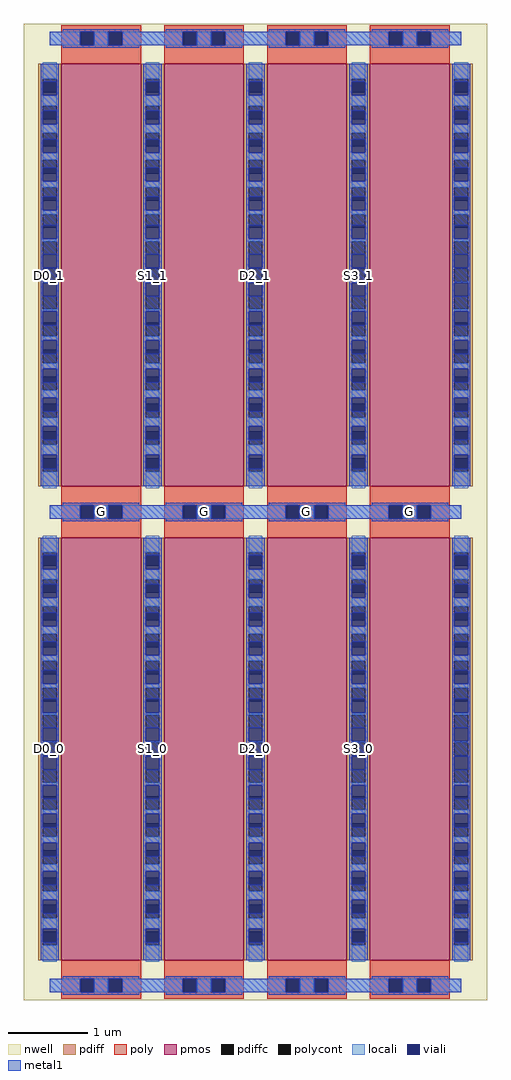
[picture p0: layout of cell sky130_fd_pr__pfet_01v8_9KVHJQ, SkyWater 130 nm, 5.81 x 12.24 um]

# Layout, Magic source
magic
tech sky130A
magscale 1 2
<< nwell >>
rect -581 -1224 581 1224
<< pmos >>
rect -487 64 -287 1124
rect -229 64 -29 1124
rect 29 64 229 1124
rect 287 64 487 1124
rect -487 -1124 -287 -64
rect -229 -1124 -29 -64
rect 29 -1124 229 -64
rect 287 -1124 487 -64
<< pdiff >>
rect -545 1087 -487 1124
rect -545 1053 -533 1087
rect -499 1053 -487 1087
rect -545 1019 -487 1053
rect -545 985 -533 1019
rect -499 985 -487 1019
rect -545 951 -487 985
rect -545 917 -533 951
rect -499 917 -487 951
rect -545 883 -487 917
rect -545 849 -533 883
rect -499 849 -487 883
rect -545 815 -487 849
rect -545 781 -533 815
rect -499 781 -487 815
rect -545 747 -487 781
rect -545 713 -533 747
rect -499 713 -487 747
rect -545 679 -487 713
rect -545 645 -533 679
rect -499 645 -487 679
rect -545 611 -487 645
rect -545 577 -533 611
rect -499 577 -487 611
rect -545 543 -487 577
rect -545 509 -533 543
rect -499 509 -487 543
rect -545 475 -487 509
rect -545 441 -533 475
rect -499 441 -487 475
rect -545 407 -487 441
rect -545 373 -533 407
rect -499 373 -487 407
rect -545 339 -487 373
rect -545 305 -533 339
rect -499 305 -487 339
rect -545 271 -487 305
rect -545 237 -533 271
rect -499 237 -487 271
rect -545 203 -487 237
rect -545 169 -533 203
rect -499 169 -487 203
rect -545 135 -487 169
rect -545 101 -533 135
rect -499 101 -487 135
rect -545 64 -487 101
rect -287 1087 -229 1124
rect -287 1053 -275 1087
rect -241 1053 -229 1087
rect -287 1019 -229 1053
rect -287 985 -275 1019
rect -241 985 -229 1019
rect -287 951 -229 985
rect -287 917 -275 951
rect -241 917 -229 951
rect -287 883 -229 917
rect -287 849 -275 883
rect -241 849 -229 883
rect -287 815 -229 849
rect -287 781 -275 815
rect -241 781 -229 815
rect -287 747 -229 781
rect -287 713 -275 747
rect -241 713 -229 747
rect -287 679 -229 713
rect -287 645 -275 679
rect -241 645 -229 679
rect -287 611 -229 645
rect -287 577 -275 611
rect -241 577 -229 611
rect -287 543 -229 577
rect -287 509 -275 543
rect -241 509 -229 543
rect -287 475 -229 509
rect -287 441 -275 475
rect -241 441 -229 475
rect -287 407 -229 441
rect -287 373 -275 407
rect -241 373 -229 407
rect -287 339 -229 373
rect -287 305 -275 339
rect -241 305 -229 339
rect -287 271 -229 305
rect -287 237 -275 271
rect -241 237 -229 271
rect -287 203 -229 237
rect -287 169 -275 203
rect -241 169 -229 203
rect -287 135 -229 169
rect -287 101 -275 135
rect -241 101 -229 135
rect -287 64 -229 101
rect -29 1087 29 1124
rect -29 1053 -17 1087
rect 17 1053 29 1087
rect -29 1019 29 1053
rect -29 985 -17 1019
rect 17 985 29 1019
rect -29 951 29 985
rect -29 917 -17 951
rect 17 917 29 951
rect -29 883 29 917
rect -29 849 -17 883
rect 17 849 29 883
rect -29 815 29 849
rect -29 781 -17 815
rect 17 781 29 815
rect -29 747 29 781
rect -29 713 -17 747
rect 17 713 29 747
rect -29 679 29 713
rect -29 645 -17 679
rect 17 645 29 679
rect -29 611 29 645
rect -29 577 -17 611
rect 17 577 29 611
rect -29 543 29 577
rect -29 509 -17 543
rect 17 509 29 543
rect -29 475 29 509
rect -29 441 -17 475
rect 17 441 29 475
rect -29 407 29 441
rect -29 373 -17 407
rect 17 373 29 407
rect -29 339 29 373
rect -29 305 -17 339
rect 17 305 29 339
rect -29 271 29 305
rect -29 237 -17 271
rect 17 237 29 271
rect -29 203 29 237
rect -29 169 -17 203
rect 17 169 29 203
rect -29 135 29 169
rect -29 101 -17 135
rect 17 101 29 135
rect -29 64 29 101
rect 229 1087 287 1124
rect 229 1053 241 1087
rect 275 1053 287 1087
rect 229 1019 287 1053
rect 229 985 241 1019
rect 275 985 287 1019
rect 229 951 287 985
rect 229 917 241 951
rect 275 917 287 951
rect 229 883 287 917
rect 229 849 241 883
rect 275 849 287 883
rect 229 815 287 849
rect 229 781 241 815
rect 275 781 287 815
rect 229 747 287 781
rect 229 713 241 747
rect 275 713 287 747
rect 229 679 287 713
rect 229 645 241 679
rect 275 645 287 679
rect 229 611 287 645
rect 229 577 241 611
rect 275 577 287 611
rect 229 543 287 577
rect 229 509 241 543
rect 275 509 287 543
rect 229 475 287 509
rect 229 441 241 475
rect 275 441 287 475
rect 229 407 287 441
rect 229 373 241 407
rect 275 373 287 407
rect 229 339 287 373
rect 229 305 241 339
rect 275 305 287 339
rect 229 271 287 305
rect 229 237 241 271
rect 275 237 287 271
rect 229 203 287 237
rect 229 169 241 203
rect 275 169 287 203
rect 229 135 287 169
rect 229 101 241 135
rect 275 101 287 135
rect 229 64 287 101
rect 487 1087 545 1124
rect 487 1053 499 1087
rect 533 1053 545 1087
rect 487 1019 545 1053
rect 487 985 499 1019
rect 533 985 545 1019
rect 487 951 545 985
rect 487 917 499 951
rect 533 917 545 951
rect 487 883 545 917
rect 487 849 499 883
rect 533 849 545 883
rect 487 815 545 849
rect 487 781 499 815
rect 533 781 545 815
rect 487 747 545 781
rect 487 713 499 747
rect 533 713 545 747
rect 487 679 545 713
rect 487 645 499 679
rect 533 645 545 679
rect 487 611 545 645
rect 487 577 499 611
rect 533 577 545 611
rect 487 543 545 577
rect 487 509 499 543
rect 533 509 545 543
rect 487 475 545 509
rect 487 441 499 475
rect 533 441 545 475
rect 487 407 545 441
rect 487 373 499 407
rect 533 373 545 407
rect 487 339 545 373
rect 487 305 499 339
rect 533 305 545 339
rect 487 271 545 305
rect 487 237 499 271
rect 533 237 545 271
rect 487 203 545 237
rect 487 169 499 203
rect 533 169 545 203
rect 487 135 545 169
rect 487 101 499 135
rect 533 101 545 135
rect 487 64 545 101
rect -545 -101 -487 -64
rect -545 -135 -533 -101
rect -499 -135 -487 -101
rect -545 -169 -487 -135
rect -545 -203 -533 -169
rect -499 -203 -487 -169
rect -545 -237 -487 -203
rect -545 -271 -533 -237
rect -499 -271 -487 -237
rect -545 -305 -487 -271
rect -545 -339 -533 -305
rect -499 -339 -487 -305
rect -545 -373 -487 -339
rect -545 -407 -533 -373
rect -499 -407 -487 -373
rect -545 -441 -487 -407
rect -545 -475 -533 -441
rect -499 -475 -487 -441
rect -545 -509 -487 -475
rect -545 -543 -533 -509
rect -499 -543 -487 -509
rect -545 -577 -487 -543
rect -545 -611 -533 -577
rect -499 -611 -487 -577
rect -545 -645 -487 -611
rect -545 -679 -533 -645
rect -499 -679 -487 -645
rect -545 -713 -487 -679
rect -545 -747 -533 -713
rect -499 -747 -487 -713
rect -545 -781 -487 -747
rect -545 -815 -533 -781
rect -499 -815 -487 -781
rect -545 -849 -487 -815
rect -545 -883 -533 -849
rect -499 -883 -487 -849
rect -545 -917 -487 -883
rect -545 -951 -533 -917
rect -499 -951 -487 -917
rect -545 -985 -487 -951
rect -545 -1019 -533 -985
rect -499 -1019 -487 -985
rect -545 -1053 -487 -1019
rect -545 -1087 -533 -1053
rect -499 -1087 -487 -1053
rect -545 -1124 -487 -1087
rect -287 -101 -229 -64
rect -287 -135 -275 -101
rect -241 -135 -229 -101
rect -287 -169 -229 -135
rect -287 -203 -275 -169
rect -241 -203 -229 -169
rect -287 -237 -229 -203
rect -287 -271 -275 -237
rect -241 -271 -229 -237
rect -287 -305 -229 -271
rect -287 -339 -275 -305
rect -241 -339 -229 -305
rect -287 -373 -229 -339
rect -287 -407 -275 -373
rect -241 -407 -229 -373
rect -287 -441 -229 -407
rect -287 -475 -275 -441
rect -241 -475 -229 -441
rect -287 -509 -229 -475
rect -287 -543 -275 -509
rect -241 -543 -229 -509
rect -287 -577 -229 -543
rect -287 -611 -275 -577
rect -241 -611 -229 -577
rect -287 -645 -229 -611
rect -287 -679 -275 -645
rect -241 -679 -229 -645
rect -287 -713 -229 -679
rect -287 -747 -275 -713
rect -241 -747 -229 -713
rect -287 -781 -229 -747
rect -287 -815 -275 -781
rect -241 -815 -229 -781
rect -287 -849 -229 -815
rect -287 -883 -275 -849
rect -241 -883 -229 -849
rect -287 -917 -229 -883
rect -287 -951 -275 -917
rect -241 -951 -229 -917
rect -287 -985 -229 -951
rect -287 -1019 -275 -985
rect -241 -1019 -229 -985
rect -287 -1053 -229 -1019
rect -287 -1087 -275 -1053
rect -241 -1087 -229 -1053
rect -287 -1124 -229 -1087
rect -29 -101 29 -64
rect -29 -135 -17 -101
rect 17 -135 29 -101
rect -29 -169 29 -135
rect -29 -203 -17 -169
rect 17 -203 29 -169
rect -29 -237 29 -203
rect -29 -271 -17 -237
rect 17 -271 29 -237
rect -29 -305 29 -271
rect -29 -339 -17 -305
rect 17 -339 29 -305
rect -29 -373 29 -339
rect -29 -407 -17 -373
rect 17 -407 29 -373
rect -29 -441 29 -407
rect -29 -475 -17 -441
rect 17 -475 29 -441
rect -29 -509 29 -475
rect -29 -543 -17 -509
rect 17 -543 29 -509
rect -29 -577 29 -543
rect -29 -611 -17 -577
rect 17 -611 29 -577
rect -29 -645 29 -611
rect -29 -679 -17 -645
rect 17 -679 29 -645
rect -29 -713 29 -679
rect -29 -747 -17 -713
rect 17 -747 29 -713
rect -29 -781 29 -747
rect -29 -815 -17 -781
rect 17 -815 29 -781
rect -29 -849 29 -815
rect -29 -883 -17 -849
rect 17 -883 29 -849
rect -29 -917 29 -883
rect -29 -951 -17 -917
rect 17 -951 29 -917
rect -29 -985 29 -951
rect -29 -1019 -17 -985
rect 17 -1019 29 -985
rect -29 -1053 29 -1019
rect -29 -1087 -17 -1053
rect 17 -1087 29 -1053
rect -29 -1124 29 -1087
rect 229 -101 287 -64
rect 229 -135 241 -101
rect 275 -135 287 -101
rect 229 -169 287 -135
rect 229 -203 241 -169
rect 275 -203 287 -169
rect 229 -237 287 -203
rect 229 -271 241 -237
rect 275 -271 287 -237
rect 229 -305 287 -271
rect 229 -339 241 -305
rect 275 -339 287 -305
rect 229 -373 287 -339
rect 229 -407 241 -373
rect 275 -407 287 -373
rect 229 -441 287 -407
rect 229 -475 241 -441
rect 275 -475 287 -441
rect 229 -509 287 -475
rect 229 -543 241 -509
rect 275 -543 287 -509
rect 229 -577 287 -543
rect 229 -611 241 -577
rect 275 -611 287 -577
rect 229 -645 287 -611
rect 229 -679 241 -645
rect 275 -679 287 -645
rect 229 -713 287 -679
rect 229 -747 241 -713
rect 275 -747 287 -713
rect 229 -781 287 -747
rect 229 -815 241 -781
rect 275 -815 287 -781
rect 229 -849 287 -815
rect 229 -883 241 -849
rect 275 -883 287 -849
rect 229 -917 287 -883
rect 229 -951 241 -917
rect 275 -951 287 -917
rect 229 -985 287 -951
rect 229 -1019 241 -985
rect 275 -1019 287 -985
rect 229 -1053 287 -1019
rect 229 -1087 241 -1053
rect 275 -1087 287 -1053
rect 229 -1124 287 -1087
rect 487 -101 545 -64
rect 487 -135 499 -101
rect 533 -135 545 -101
rect 487 -169 545 -135
rect 487 -203 499 -169
rect 533 -203 545 -169
rect 487 -237 545 -203
rect 487 -271 499 -237
rect 533 -271 545 -237
rect 487 -305 545 -271
rect 487 -339 499 -305
rect 533 -339 545 -305
rect 487 -373 545 -339
rect 487 -407 499 -373
rect 533 -407 545 -373
rect 487 -441 545 -407
rect 487 -475 499 -441
rect 533 -475 545 -441
rect 487 -509 545 -475
rect 487 -543 499 -509
rect 533 -543 545 -509
rect 487 -577 545 -543
rect 487 -611 499 -577
rect 533 -611 545 -577
rect 487 -645 545 -611
rect 487 -679 499 -645
rect 533 -679 545 -645
rect 487 -713 545 -679
rect 487 -747 499 -713
rect 533 -747 545 -713
rect 487 -781 545 -747
rect 487 -815 499 -781
rect 533 -815 545 -781
rect 487 -849 545 -815
rect 487 -883 499 -849
rect 533 -883 545 -849
rect 487 -917 545 -883
rect 487 -951 499 -917
rect 533 -951 545 -917
rect 487 -985 545 -951
rect 487 -1019 499 -985
rect 533 -1019 545 -985
rect 487 -1053 545 -1019
rect 487 -1087 499 -1053
rect 533 -1087 545 -1053
rect 487 -1124 545 -1087
<< pdiffc >>
rect -533 1053 -499 1087
rect -533 985 -499 1019
rect -533 917 -499 951
rect -533 849 -499 883
rect -533 781 -499 815
rect -533 713 -499 747
rect -533 645 -499 679
rect -533 577 -499 611
rect -533 509 -499 543
rect -533 441 -499 475
rect -533 373 -499 407
rect -533 305 -499 339
rect -533 237 -499 271
rect -533 169 -499 203
rect -533 101 -499 135
rect -275 1053 -241 1087
rect -275 985 -241 1019
rect -275 917 -241 951
rect -275 849 -241 883
rect -275 781 -241 815
rect -275 713 -241 747
rect -275 645 -241 679
rect -275 577 -241 611
rect -275 509 -241 543
rect -275 441 -241 475
rect -275 373 -241 407
rect -275 305 -241 339
rect -275 237 -241 271
rect -275 169 -241 203
rect -275 101 -241 135
rect -17 1053 17 1087
rect -17 985 17 1019
rect -17 917 17 951
rect -17 849 17 883
rect -17 781 17 815
rect -17 713 17 747
rect -17 645 17 679
rect -17 577 17 611
rect -17 509 17 543
rect -17 441 17 475
rect -17 373 17 407
rect -17 305 17 339
rect -17 237 17 271
rect -17 169 17 203
rect -17 101 17 135
rect 241 1053 275 1087
rect 241 985 275 1019
rect 241 917 275 951
rect 241 849 275 883
rect 241 781 275 815
rect 241 713 275 747
rect 241 645 275 679
rect 241 577 275 611
rect 241 509 275 543
rect 241 441 275 475
rect 241 373 275 407
rect 241 305 275 339
rect 241 237 275 271
rect 241 169 275 203
rect 241 101 275 135
rect 499 1053 533 1087
rect 499 985 533 1019
rect 499 917 533 951
rect 499 849 533 883
rect 499 781 533 815
rect 499 713 533 747
rect 499 645 533 679
rect 499 577 533 611
rect 499 509 533 543
rect 499 441 533 475
rect 499 373 533 407
rect 499 305 533 339
rect 499 237 533 271
rect 499 169 533 203
rect 499 101 533 135
rect -533 -135 -499 -101
rect -533 -203 -499 -169
rect -533 -271 -499 -237
rect -533 -339 -499 -305
rect -533 -407 -499 -373
rect -533 -475 -499 -441
rect -533 -543 -499 -509
rect -533 -611 -499 -577
rect -533 -679 -499 -645
rect -533 -747 -499 -713
rect -533 -815 -499 -781
rect -533 -883 -499 -849
rect -533 -951 -499 -917
rect -533 -1019 -499 -985
rect -533 -1087 -499 -1053
rect -275 -135 -241 -101
rect -275 -203 -241 -169
rect -275 -271 -241 -237
rect -275 -339 -241 -305
rect -275 -407 -241 -373
rect -275 -475 -241 -441
rect -275 -543 -241 -509
rect -275 -611 -241 -577
rect -275 -679 -241 -645
rect -275 -747 -241 -713
rect -275 -815 -241 -781
rect -275 -883 -241 -849
rect -275 -951 -241 -917
rect -275 -1019 -241 -985
rect -275 -1087 -241 -1053
rect -17 -135 17 -101
rect -17 -203 17 -169
rect -17 -271 17 -237
rect -17 -339 17 -305
rect -17 -407 17 -373
rect -17 -475 17 -441
rect -17 -543 17 -509
rect -17 -611 17 -577
rect -17 -679 17 -645
rect -17 -747 17 -713
rect -17 -815 17 -781
rect -17 -883 17 -849
rect -17 -951 17 -917
rect -17 -1019 17 -985
rect -17 -1087 17 -1053
rect 241 -135 275 -101
rect 241 -203 275 -169
rect 241 -271 275 -237
rect 241 -339 275 -305
rect 241 -407 275 -373
rect 241 -475 275 -441
rect 241 -543 275 -509
rect 241 -611 275 -577
rect 241 -679 275 -645
rect 241 -747 275 -713
rect 241 -815 275 -781
rect 241 -883 275 -849
rect 241 -951 275 -917
rect 241 -1019 275 -985
rect 241 -1087 275 -1053
rect 499 -135 533 -101
rect 499 -203 533 -169
rect 499 -271 533 -237
rect 499 -339 533 -305
rect 499 -407 533 -373
rect 499 -475 533 -441
rect 499 -543 533 -509
rect 499 -611 533 -577
rect 499 -679 533 -645
rect 499 -747 533 -713
rect 499 -815 533 -781
rect 499 -883 533 -849
rect 499 -951 533 -917
rect 499 -1019 533 -985
rect 499 -1087 533 -1053
<< poly >>
rect -487 1205 -287 1221
rect -487 1171 -438 1205
rect -404 1171 -370 1205
rect -336 1171 -287 1205
rect -487 1124 -287 1171
rect -229 1205 -29 1221
rect -229 1171 -180 1205
rect -146 1171 -112 1205
rect -78 1171 -29 1205
rect -229 1124 -29 1171
rect 29 1205 229 1221
rect 29 1171 78 1205
rect 112 1171 146 1205
rect 180 1171 229 1205
rect 29 1124 229 1171
rect 287 1205 487 1221
rect 287 1171 336 1205
rect 370 1171 404 1205
rect 438 1171 487 1205
rect 287 1124 487 1171
rect -487 17 -287 64
rect -487 -17 -438 17
rect -404 -17 -370 17
rect -336 -17 -287 17
rect -487 -64 -287 -17
rect -229 17 -29 64
rect -229 -17 -180 17
rect -146 -17 -112 17
rect -78 -17 -29 17
rect -229 -64 -29 -17
rect 29 17 229 64
rect 29 -17 78 17
rect 112 -17 146 17
rect 180 -17 229 17
rect 29 -64 229 -17
rect 287 17 487 64
rect 287 -17 336 17
rect 370 -17 404 17
rect 438 -17 487 17
rect 287 -64 487 -17
rect -487 -1171 -287 -1124
rect -487 -1205 -438 -1171
rect -404 -1205 -370 -1171
rect -336 -1205 -287 -1171
rect -487 -1221 -287 -1205
rect -229 -1171 -29 -1124
rect -229 -1205 -180 -1171
rect -146 -1205 -112 -1171
rect -78 -1205 -29 -1171
rect -229 -1221 -29 -1205
rect 29 -1171 229 -1124
rect 29 -1205 78 -1171
rect 112 -1205 146 -1171
rect 180 -1205 229 -1171
rect 29 -1221 229 -1205
rect 287 -1171 487 -1124
rect 287 -1205 336 -1171
rect 370 -1205 404 -1171
rect 438 -1205 487 -1171
rect 287 -1221 487 -1205
<< polycont >>
rect -438 1171 -404 1205
rect -370 1171 -336 1205
rect -180 1171 -146 1205
rect -112 1171 -78 1205
rect 78 1171 112 1205
rect 146 1171 180 1205
rect 336 1171 370 1205
rect 404 1171 438 1205
rect -438 -17 -404 17
rect -370 -17 -336 17
rect -180 -17 -146 17
rect -112 -17 -78 17
rect 78 -17 112 17
rect 146 -17 180 17
rect 336 -17 370 17
rect 404 -17 438 17
rect -438 -1205 -404 -1171
rect -370 -1205 -336 -1171
rect -180 -1205 -146 -1171
rect -112 -1205 -78 -1171
rect 78 -1205 112 -1171
rect 146 -1205 180 -1171
rect 336 -1205 370 -1171
rect 404 -1205 438 -1171
<< locali >>
rect -516 1171 -440 1205
rect -404 1171 -370 1205
rect -334 1171 -182 1205
rect -146 1171 -112 1205
rect -76 1171 76 1205
rect 112 1171 146 1205
rect 182 1171 334 1205
rect 370 1171 404 1205
rect 440 1171 516 1205
rect -533 1087 -499 1128
rect -533 1019 -499 1045
rect -533 951 -499 973
rect -533 883 -499 901
rect -533 815 -499 829
rect -533 747 -499 757
rect -533 679 -499 685
rect -533 611 -499 613
rect -533 575 -499 577
rect -533 503 -499 509
rect -533 431 -499 441
rect -533 359 -499 373
rect -533 287 -499 305
rect -533 215 -499 237
rect -533 143 -499 169
rect -533 60 -499 101
rect -275 1087 -241 1128
rect -275 1019 -241 1045
rect -275 951 -241 973
rect -275 883 -241 901
rect -275 815 -241 829
rect -275 747 -241 757
rect -275 679 -241 685
rect -275 611 -241 613
rect -275 575 -241 577
rect -275 503 -241 509
rect -275 431 -241 441
rect -275 359 -241 373
rect -275 287 -241 305
rect -275 215 -241 237
rect -275 143 -241 169
rect -275 60 -241 101
rect -17 1087 17 1128
rect -17 1019 17 1045
rect -17 951 17 973
rect -17 883 17 901
rect -17 815 17 829
rect -17 747 17 757
rect -17 679 17 685
rect -17 611 17 613
rect -17 575 17 577
rect -17 503 17 509
rect -17 431 17 441
rect -17 359 17 373
rect -17 287 17 305
rect -17 215 17 237
rect -17 143 17 169
rect -17 60 17 101
rect 241 1087 275 1128
rect 241 1019 275 1045
rect 241 951 275 973
rect 241 883 275 901
rect 241 815 275 829
rect 241 747 275 757
rect 241 679 275 685
rect 241 611 275 613
rect 241 575 275 577
rect 241 503 275 509
rect 241 431 275 441
rect 241 359 275 373
rect 241 287 275 305
rect 241 215 275 237
rect 241 143 275 169
rect 241 60 275 101
rect 499 1087 533 1128
rect 499 1019 533 1045
rect 499 951 533 973
rect 499 883 533 901
rect 499 815 533 829
rect 499 747 533 757
rect 499 679 533 685
rect 499 611 533 613
rect 499 575 533 577
rect 499 503 533 509
rect 499 431 533 441
rect 499 359 533 373
rect 499 287 533 305
rect 499 215 533 237
rect 499 143 533 169
rect 499 60 533 101
rect -516 -17 -440 17
rect -404 -17 -370 17
rect -334 -17 -182 17
rect -146 -17 -112 17
rect -76 -17 76 17
rect 112 -17 146 17
rect 182 -17 334 17
rect 370 -17 404 17
rect 440 -17 516 17
rect -533 -101 -499 -60
rect -533 -169 -499 -143
rect -533 -237 -499 -215
rect -533 -305 -499 -287
rect -533 -373 -499 -359
rect -533 -441 -499 -431
rect -533 -509 -499 -503
rect -533 -577 -499 -575
rect -533 -613 -499 -611
rect -533 -685 -499 -679
rect -533 -757 -499 -747
rect -533 -829 -499 -815
rect -533 -901 -499 -883
rect -533 -973 -499 -951
rect -533 -1045 -499 -1019
rect -533 -1128 -499 -1087
rect -275 -101 -241 -60
rect -275 -169 -241 -143
rect -275 -237 -241 -215
rect -275 -305 -241 -287
rect -275 -373 -241 -359
rect -275 -441 -241 -431
rect -275 -509 -241 -503
rect -275 -577 -241 -575
rect -275 -613 -241 -611
rect -275 -685 -241 -679
rect -275 -757 -241 -747
rect -275 -829 -241 -815
rect -275 -901 -241 -883
rect -275 -973 -241 -951
rect -275 -1045 -241 -1019
rect -275 -1128 -241 -1087
rect -17 -101 17 -60
rect -17 -169 17 -143
rect -17 -237 17 -215
rect -17 -305 17 -287
rect -17 -373 17 -359
rect -17 -441 17 -431
rect -17 -509 17 -503
rect -17 -577 17 -575
rect -17 -613 17 -611
rect -17 -685 17 -679
rect -17 -757 17 -747
rect -17 -829 17 -815
rect -17 -901 17 -883
rect -17 -973 17 -951
rect -17 -1045 17 -1019
rect -17 -1128 17 -1087
rect 241 -101 275 -60
rect 241 -169 275 -143
rect 241 -237 275 -215
rect 241 -305 275 -287
rect 241 -373 275 -359
rect 241 -441 275 -431
rect 241 -509 275 -503
rect 241 -577 275 -575
rect 241 -613 275 -611
rect 241 -685 275 -679
rect 241 -757 275 -747
rect 241 -829 275 -815
rect 241 -901 275 -883
rect 241 -973 275 -951
rect 241 -1045 275 -1019
rect 241 -1128 275 -1087
rect 499 -101 533 -60
rect 499 -169 533 -143
rect 499 -237 533 -215
rect 499 -305 533 -287
rect 499 -373 533 -359
rect 499 -441 533 -431
rect 499 -509 533 -503
rect 499 -577 533 -575
rect 499 -613 533 -611
rect 499 -685 533 -679
rect 499 -757 533 -747
rect 499 -829 533 -815
rect 499 -901 533 -883
rect 499 -973 533 -951
rect 499 -1045 533 -1019
rect 499 -1128 533 -1087
rect -516 -1205 -440 -1171
rect -404 -1205 -370 -1171
rect -334 -1205 -182 -1171
rect -146 -1205 -112 -1171
rect -76 -1205 76 -1171
rect 112 -1205 146 -1171
rect 182 -1205 334 -1171
rect 370 -1205 404 -1171
rect 440 -1205 516 -1171
<< viali >>
rect -440 1171 -438 1205
rect -438 1171 -406 1205
rect -368 1171 -336 1205
rect -336 1171 -334 1205
rect -182 1171 -180 1205
rect -180 1171 -148 1205
rect -110 1171 -78 1205
rect -78 1171 -76 1205
rect 76 1171 78 1205
rect 78 1171 110 1205
rect 148 1171 180 1205
rect 180 1171 182 1205
rect 334 1171 336 1205
rect 336 1171 368 1205
rect 406 1171 438 1205
rect 438 1171 440 1205
rect -533 1053 -499 1079
rect -533 1045 -499 1053
rect -533 985 -499 1007
rect -533 973 -499 985
rect -533 917 -499 935
rect -533 901 -499 917
rect -533 849 -499 863
rect -533 829 -499 849
rect -533 781 -499 791
rect -533 757 -499 781
rect -533 713 -499 719
rect -533 685 -499 713
rect -533 645 -499 647
rect -533 613 -499 645
rect -533 543 -499 575
rect -533 541 -499 543
rect -533 475 -499 503
rect -533 469 -499 475
rect -533 407 -499 431
rect -533 397 -499 407
rect -533 339 -499 359
rect -533 325 -499 339
rect -533 271 -499 287
rect -533 253 -499 271
rect -533 203 -499 215
rect -533 181 -499 203
rect -533 135 -499 143
rect -533 109 -499 135
rect -275 1053 -241 1079
rect -275 1045 -241 1053
rect -275 985 -241 1007
rect -275 973 -241 985
rect -275 917 -241 935
rect -275 901 -241 917
rect -275 849 -241 863
rect -275 829 -241 849
rect -275 781 -241 791
rect -275 757 -241 781
rect -275 713 -241 719
rect -275 685 -241 713
rect -275 645 -241 647
rect -275 613 -241 645
rect -275 543 -241 575
rect -275 541 -241 543
rect -275 475 -241 503
rect -275 469 -241 475
rect -275 407 -241 431
rect -275 397 -241 407
rect -275 339 -241 359
rect -275 325 -241 339
rect -275 271 -241 287
rect -275 253 -241 271
rect -275 203 -241 215
rect -275 181 -241 203
rect -275 135 -241 143
rect -275 109 -241 135
rect -17 1053 17 1079
rect -17 1045 17 1053
rect -17 985 17 1007
rect -17 973 17 985
rect -17 917 17 935
rect -17 901 17 917
rect -17 849 17 863
rect -17 829 17 849
rect -17 781 17 791
rect -17 757 17 781
rect -17 713 17 719
rect -17 685 17 713
rect -17 645 17 647
rect -17 613 17 645
rect -17 543 17 575
rect -17 541 17 543
rect -17 475 17 503
rect -17 469 17 475
rect -17 407 17 431
rect -17 397 17 407
rect -17 339 17 359
rect -17 325 17 339
rect -17 271 17 287
rect -17 253 17 271
rect -17 203 17 215
rect -17 181 17 203
rect -17 135 17 143
rect -17 109 17 135
rect 241 1053 275 1079
rect 241 1045 275 1053
rect 241 985 275 1007
rect 241 973 275 985
rect 241 917 275 935
rect 241 901 275 917
rect 241 849 275 863
rect 241 829 275 849
rect 241 781 275 791
rect 241 757 275 781
rect 241 713 275 719
rect 241 685 275 713
rect 241 645 275 647
rect 241 613 275 645
rect 241 543 275 575
rect 241 541 275 543
rect 241 475 275 503
rect 241 469 275 475
rect 241 407 275 431
rect 241 397 275 407
rect 241 339 275 359
rect 241 325 275 339
rect 241 271 275 287
rect 241 253 275 271
rect 241 203 275 215
rect 241 181 275 203
rect 241 135 275 143
rect 241 109 275 135
rect 499 1053 533 1079
rect 499 1045 533 1053
rect 499 985 533 1007
rect 499 973 533 985
rect 499 917 533 935
rect 499 901 533 917
rect 499 849 533 863
rect 499 829 533 849
rect 499 781 533 791
rect 499 757 533 781
rect 499 713 533 719
rect 499 685 533 713
rect 499 645 533 647
rect 499 613 533 645
rect 499 543 533 575
rect 499 541 533 543
rect 499 475 533 503
rect 499 469 533 475
rect 499 407 533 431
rect 499 397 533 407
rect 499 339 533 359
rect 499 325 533 339
rect 499 271 533 287
rect 499 253 533 271
rect 499 203 533 215
rect 499 181 533 203
rect 499 135 533 143
rect 499 109 533 135
rect -440 -17 -438 17
rect -438 -17 -406 17
rect -368 -17 -336 17
rect -336 -17 -334 17
rect -182 -17 -180 17
rect -180 -17 -148 17
rect -110 -17 -78 17
rect -78 -17 -76 17
rect 76 -17 78 17
rect 78 -17 110 17
rect 148 -17 180 17
rect 180 -17 182 17
rect 334 -17 336 17
rect 336 -17 368 17
rect 406 -17 438 17
rect 438 -17 440 17
rect -533 -135 -499 -109
rect -533 -143 -499 -135
rect -533 -203 -499 -181
rect -533 -215 -499 -203
rect -533 -271 -499 -253
rect -533 -287 -499 -271
rect -533 -339 -499 -325
rect -533 -359 -499 -339
rect -533 -407 -499 -397
rect -533 -431 -499 -407
rect -533 -475 -499 -469
rect -533 -503 -499 -475
rect -533 -543 -499 -541
rect -533 -575 -499 -543
rect -533 -645 -499 -613
rect -533 -647 -499 -645
rect -533 -713 -499 -685
rect -533 -719 -499 -713
rect -533 -781 -499 -757
rect -533 -791 -499 -781
rect -533 -849 -499 -829
rect -533 -863 -499 -849
rect -533 -917 -499 -901
rect -533 -935 -499 -917
rect -533 -985 -499 -973
rect -533 -1007 -499 -985
rect -533 -1053 -499 -1045
rect -533 -1079 -499 -1053
rect -275 -135 -241 -109
rect -275 -143 -241 -135
rect -275 -203 -241 -181
rect -275 -215 -241 -203
rect -275 -271 -241 -253
rect -275 -287 -241 -271
rect -275 -339 -241 -325
rect -275 -359 -241 -339
rect -275 -407 -241 -397
rect -275 -431 -241 -407
rect -275 -475 -241 -469
rect -275 -503 -241 -475
rect -275 -543 -241 -541
rect -275 -575 -241 -543
rect -275 -645 -241 -613
rect -275 -647 -241 -645
rect -275 -713 -241 -685
rect -275 -719 -241 -713
rect -275 -781 -241 -757
rect -275 -791 -241 -781
rect -275 -849 -241 -829
rect -275 -863 -241 -849
rect -275 -917 -241 -901
rect -275 -935 -241 -917
rect -275 -985 -241 -973
rect -275 -1007 -241 -985
rect -275 -1053 -241 -1045
rect -275 -1079 -241 -1053
rect -17 -135 17 -109
rect -17 -143 17 -135
rect -17 -203 17 -181
rect -17 -215 17 -203
rect -17 -271 17 -253
rect -17 -287 17 -271
rect -17 -339 17 -325
rect -17 -359 17 -339
rect -17 -407 17 -397
rect -17 -431 17 -407
rect -17 -475 17 -469
rect -17 -503 17 -475
rect -17 -543 17 -541
rect -17 -575 17 -543
rect -17 -645 17 -613
rect -17 -647 17 -645
rect -17 -713 17 -685
rect -17 -719 17 -713
rect -17 -781 17 -757
rect -17 -791 17 -781
rect -17 -849 17 -829
rect -17 -863 17 -849
rect -17 -917 17 -901
rect -17 -935 17 -917
rect -17 -985 17 -973
rect -17 -1007 17 -985
rect -17 -1053 17 -1045
rect -17 -1079 17 -1053
rect 241 -135 275 -109
rect 241 -143 275 -135
rect 241 -203 275 -181
rect 241 -215 275 -203
rect 241 -271 275 -253
rect 241 -287 275 -271
rect 241 -339 275 -325
rect 241 -359 275 -339
rect 241 -407 275 -397
rect 241 -431 275 -407
rect 241 -475 275 -469
rect 241 -503 275 -475
rect 241 -543 275 -541
rect 241 -575 275 -543
rect 241 -645 275 -613
rect 241 -647 275 -645
rect 241 -713 275 -685
rect 241 -719 275 -713
rect 241 -781 275 -757
rect 241 -791 275 -781
rect 241 -849 275 -829
rect 241 -863 275 -849
rect 241 -917 275 -901
rect 241 -935 275 -917
rect 241 -985 275 -973
rect 241 -1007 275 -985
rect 241 -1053 275 -1045
rect 241 -1079 275 -1053
rect 499 -135 533 -109
rect 499 -143 533 -135
rect 499 -203 533 -181
rect 499 -215 533 -203
rect 499 -271 533 -253
rect 499 -287 533 -271
rect 499 -339 533 -325
rect 499 -359 533 -339
rect 499 -407 533 -397
rect 499 -431 533 -407
rect 499 -475 533 -469
rect 499 -503 533 -475
rect 499 -543 533 -541
rect 499 -575 533 -543
rect 499 -645 533 -613
rect 499 -647 533 -645
rect 499 -713 533 -685
rect 499 -719 533 -713
rect 499 -781 533 -757
rect 499 -791 533 -781
rect 499 -849 533 -829
rect 499 -863 533 -849
rect 499 -917 533 -901
rect 499 -935 533 -917
rect 499 -985 533 -973
rect 499 -1007 533 -985
rect 499 -1053 533 -1045
rect 499 -1079 533 -1053
rect -440 -1205 -438 -1171
rect -438 -1205 -406 -1171
rect -368 -1205 -336 -1171
rect -336 -1205 -334 -1171
rect -182 -1205 -180 -1171
rect -180 -1205 -148 -1171
rect -110 -1205 -78 -1171
rect -78 -1205 -76 -1171
rect 76 -1205 78 -1171
rect 78 -1205 110 -1171
rect 148 -1205 180 -1171
rect 180 -1205 182 -1171
rect 334 -1205 336 -1171
rect 336 -1205 368 -1171
rect 406 -1205 438 -1171
rect 438 -1205 440 -1171
<< metal1 >>
rect -483 1205 -291 1211
rect -225 1205 -33 1211
rect 33 1205 225 1211
rect 291 1205 483 1211
rect -516 1171 -440 1205
rect -406 1171 -368 1205
rect -334 1171 -182 1205
rect -148 1171 -110 1205
rect -76 1171 76 1205
rect 110 1171 148 1205
rect 182 1171 334 1205
rect 368 1171 406 1205
rect 440 1171 516 1205
rect -483 1165 -291 1171
rect -225 1165 -33 1171
rect 33 1165 225 1171
rect 291 1165 483 1171
rect -539 1079 -493 1124
rect -539 1045 -533 1079
rect -499 1045 -493 1079
rect -539 1007 -493 1045
rect -539 973 -533 1007
rect -499 973 -493 1007
rect -539 935 -493 973
rect -539 901 -533 935
rect -499 901 -493 935
rect -539 863 -493 901
rect -539 829 -533 863
rect -499 829 -493 863
rect -539 791 -493 829
rect -539 757 -533 791
rect -499 757 -493 791
rect -539 719 -493 757
rect -539 685 -533 719
rect -499 685 -493 719
rect -539 647 -493 685
rect -539 613 -533 647
rect -499 613 -493 647
rect -539 575 -493 613
rect -539 541 -533 575
rect -499 541 -493 575
rect -539 503 -493 541
rect -539 469 -533 503
rect -499 469 -493 503
rect -539 431 -493 469
rect -539 397 -533 431
rect -499 397 -493 431
rect -539 359 -493 397
rect -539 325 -533 359
rect -499 325 -493 359
rect -539 287 -493 325
rect -539 253 -533 287
rect -499 253 -493 287
rect -539 215 -493 253
rect -539 181 -533 215
rect -499 181 -493 215
rect -539 143 -493 181
rect -539 109 -533 143
rect -499 109 -493 143
rect -539 64 -493 109
rect -281 1079 -235 1124
rect -281 1045 -275 1079
rect -241 1045 -235 1079
rect -281 1007 -235 1045
rect -281 973 -275 1007
rect -241 973 -235 1007
rect -281 935 -235 973
rect -281 901 -275 935
rect -241 901 -235 935
rect -281 863 -235 901
rect -281 829 -275 863
rect -241 829 -235 863
rect -281 791 -235 829
rect -281 757 -275 791
rect -241 757 -235 791
rect -281 719 -235 757
rect -281 685 -275 719
rect -241 685 -235 719
rect -281 647 -235 685
rect -281 613 -275 647
rect -241 613 -235 647
rect -281 575 -235 613
rect -281 541 -275 575
rect -241 541 -235 575
rect -281 503 -235 541
rect -281 469 -275 503
rect -241 469 -235 503
rect -281 431 -235 469
rect -281 397 -275 431
rect -241 397 -235 431
rect -281 359 -235 397
rect -281 325 -275 359
rect -241 325 -235 359
rect -281 287 -235 325
rect -281 253 -275 287
rect -241 253 -235 287
rect -281 215 -235 253
rect -281 181 -275 215
rect -241 181 -235 215
rect -281 143 -235 181
rect -281 109 -275 143
rect -241 109 -235 143
rect -281 64 -235 109
rect -23 1079 23 1124
rect -23 1045 -17 1079
rect 17 1045 23 1079
rect -23 1007 23 1045
rect -23 973 -17 1007
rect 17 973 23 1007
rect -23 935 23 973
rect -23 901 -17 935
rect 17 901 23 935
rect -23 863 23 901
rect -23 829 -17 863
rect 17 829 23 863
rect -23 791 23 829
rect -23 757 -17 791
rect 17 757 23 791
rect -23 719 23 757
rect -23 685 -17 719
rect 17 685 23 719
rect -23 647 23 685
rect -23 613 -17 647
rect 17 613 23 647
rect -23 575 23 613
rect -23 541 -17 575
rect 17 541 23 575
rect -23 503 23 541
rect -23 469 -17 503
rect 17 469 23 503
rect -23 431 23 469
rect -23 397 -17 431
rect 17 397 23 431
rect -23 359 23 397
rect -23 325 -17 359
rect 17 325 23 359
rect -23 287 23 325
rect -23 253 -17 287
rect 17 253 23 287
rect -23 215 23 253
rect -23 181 -17 215
rect 17 181 23 215
rect -23 143 23 181
rect -23 109 -17 143
rect 17 109 23 143
rect -23 64 23 109
rect 235 1079 281 1124
rect 235 1045 241 1079
rect 275 1045 281 1079
rect 235 1007 281 1045
rect 235 973 241 1007
rect 275 973 281 1007
rect 235 935 281 973
rect 235 901 241 935
rect 275 901 281 935
rect 235 863 281 901
rect 235 829 241 863
rect 275 829 281 863
rect 235 791 281 829
rect 235 757 241 791
rect 275 757 281 791
rect 235 719 281 757
rect 235 685 241 719
rect 275 685 281 719
rect 235 647 281 685
rect 235 613 241 647
rect 275 613 281 647
rect 235 575 281 613
rect 235 541 241 575
rect 275 541 281 575
rect 235 503 281 541
rect 235 469 241 503
rect 275 469 281 503
rect 235 431 281 469
rect 235 397 241 431
rect 275 397 281 431
rect 235 359 281 397
rect 235 325 241 359
rect 275 325 281 359
rect 235 287 281 325
rect 235 253 241 287
rect 275 253 281 287
rect 235 215 281 253
rect 235 181 241 215
rect 275 181 281 215
rect 235 143 281 181
rect 235 109 241 143
rect 275 109 281 143
rect 235 64 281 109
rect 493 1079 539 1124
rect 493 1045 499 1079
rect 533 1045 539 1079
rect 493 1007 539 1045
rect 493 973 499 1007
rect 533 973 539 1007
rect 493 935 539 973
rect 493 901 499 935
rect 533 901 539 935
rect 493 863 539 901
rect 493 829 499 863
rect 533 829 539 863
rect 493 791 539 829
rect 493 757 499 791
rect 533 757 539 791
rect 493 719 539 757
rect 493 685 499 719
rect 533 685 539 719
rect 493 647 539 685
rect 493 613 499 647
rect 533 613 539 647
rect 493 575 539 613
rect 493 541 499 575
rect 533 541 539 575
rect 493 503 539 541
rect 493 469 499 503
rect 533 469 539 503
rect 493 431 539 469
rect 493 397 499 431
rect 533 397 539 431
rect 493 359 539 397
rect 493 325 499 359
rect 533 325 539 359
rect 493 287 539 325
rect 493 253 499 287
rect 533 253 539 287
rect 493 215 539 253
rect 493 181 499 215
rect 533 181 539 215
rect 493 143 539 181
rect 493 109 499 143
rect 533 109 539 143
rect 493 64 539 109
rect -483 17 -291 23
rect -225 17 -33 23
rect 33 17 225 23
rect 291 17 483 23
rect -516 -17 -440 17
rect -406 -17 -368 17
rect -334 -17 -182 17
rect -148 -17 -110 17
rect -76 -17 76 17
rect 110 -17 148 17
rect 182 -17 334 17
rect 368 -17 406 17
rect 440 -17 516 17
rect -483 -23 -291 -17
rect -225 -23 -33 -17
rect 33 -23 225 -17
rect 291 -23 483 -17
rect -539 -109 -493 -64
rect -539 -143 -533 -109
rect -499 -143 -493 -109
rect -539 -181 -493 -143
rect -539 -215 -533 -181
rect -499 -215 -493 -181
rect -539 -253 -493 -215
rect -539 -287 -533 -253
rect -499 -287 -493 -253
rect -539 -325 -493 -287
rect -539 -359 -533 -325
rect -499 -359 -493 -325
rect -539 -397 -493 -359
rect -539 -431 -533 -397
rect -499 -431 -493 -397
rect -539 -469 -493 -431
rect -539 -503 -533 -469
rect -499 -503 -493 -469
rect -539 -541 -493 -503
rect -539 -575 -533 -541
rect -499 -575 -493 -541
rect -539 -613 -493 -575
rect -539 -647 -533 -613
rect -499 -647 -493 -613
rect -539 -685 -493 -647
rect -539 -719 -533 -685
rect -499 -719 -493 -685
rect -539 -757 -493 -719
rect -539 -791 -533 -757
rect -499 -791 -493 -757
rect -539 -829 -493 -791
rect -539 -863 -533 -829
rect -499 -863 -493 -829
rect -539 -901 -493 -863
rect -539 -935 -533 -901
rect -499 -935 -493 -901
rect -539 -973 -493 -935
rect -539 -1007 -533 -973
rect -499 -1007 -493 -973
rect -539 -1045 -493 -1007
rect -539 -1079 -533 -1045
rect -499 -1079 -493 -1045
rect -539 -1124 -493 -1079
rect -281 -109 -235 -64
rect -281 -143 -275 -109
rect -241 -143 -235 -109
rect -281 -181 -235 -143
rect -281 -215 -275 -181
rect -241 -215 -235 -181
rect -281 -253 -235 -215
rect -281 -287 -275 -253
rect -241 -287 -235 -253
rect -281 -325 -235 -287
rect -281 -359 -275 -325
rect -241 -359 -235 -325
rect -281 -397 -235 -359
rect -281 -431 -275 -397
rect -241 -431 -235 -397
rect -281 -469 -235 -431
rect -281 -503 -275 -469
rect -241 -503 -235 -469
rect -281 -541 -235 -503
rect -281 -575 -275 -541
rect -241 -575 -235 -541
rect -281 -613 -235 -575
rect -281 -647 -275 -613
rect -241 -647 -235 -613
rect -281 -685 -235 -647
rect -281 -719 -275 -685
rect -241 -719 -235 -685
rect -281 -757 -235 -719
rect -281 -791 -275 -757
rect -241 -791 -235 -757
rect -281 -829 -235 -791
rect -281 -863 -275 -829
rect -241 -863 -235 -829
rect -281 -901 -235 -863
rect -281 -935 -275 -901
rect -241 -935 -235 -901
rect -281 -973 -235 -935
rect -281 -1007 -275 -973
rect -241 -1007 -235 -973
rect -281 -1045 -235 -1007
rect -281 -1079 -275 -1045
rect -241 -1079 -235 -1045
rect -281 -1124 -235 -1079
rect -23 -109 23 -64
rect -23 -143 -17 -109
rect 17 -143 23 -109
rect -23 -181 23 -143
rect -23 -215 -17 -181
rect 17 -215 23 -181
rect -23 -253 23 -215
rect -23 -287 -17 -253
rect 17 -287 23 -253
rect -23 -325 23 -287
rect -23 -359 -17 -325
rect 17 -359 23 -325
rect -23 -397 23 -359
rect -23 -431 -17 -397
rect 17 -431 23 -397
rect -23 -469 23 -431
rect -23 -503 -17 -469
rect 17 -503 23 -469
rect -23 -541 23 -503
rect -23 -575 -17 -541
rect 17 -575 23 -541
rect -23 -613 23 -575
rect -23 -647 -17 -613
rect 17 -647 23 -613
rect -23 -685 23 -647
rect -23 -719 -17 -685
rect 17 -719 23 -685
rect -23 -757 23 -719
rect -23 -791 -17 -757
rect 17 -791 23 -757
rect -23 -829 23 -791
rect -23 -863 -17 -829
rect 17 -863 23 -829
rect -23 -901 23 -863
rect -23 -935 -17 -901
rect 17 -935 23 -901
rect -23 -973 23 -935
rect -23 -1007 -17 -973
rect 17 -1007 23 -973
rect -23 -1045 23 -1007
rect -23 -1079 -17 -1045
rect 17 -1079 23 -1045
rect -23 -1124 23 -1079
rect 235 -109 281 -64
rect 235 -143 241 -109
rect 275 -143 281 -109
rect 235 -181 281 -143
rect 235 -215 241 -181
rect 275 -215 281 -181
rect 235 -253 281 -215
rect 235 -287 241 -253
rect 275 -287 281 -253
rect 235 -325 281 -287
rect 235 -359 241 -325
rect 275 -359 281 -325
rect 235 -397 281 -359
rect 235 -431 241 -397
rect 275 -431 281 -397
rect 235 -469 281 -431
rect 235 -503 241 -469
rect 275 -503 281 -469
rect 235 -541 281 -503
rect 235 -575 241 -541
rect 275 -575 281 -541
rect 235 -613 281 -575
rect 235 -647 241 -613
rect 275 -647 281 -613
rect 235 -685 281 -647
rect 235 -719 241 -685
rect 275 -719 281 -685
rect 235 -757 281 -719
rect 235 -791 241 -757
rect 275 -791 281 -757
rect 235 -829 281 -791
rect 235 -863 241 -829
rect 275 -863 281 -829
rect 235 -901 281 -863
rect 235 -935 241 -901
rect 275 -935 281 -901
rect 235 -973 281 -935
rect 235 -1007 241 -973
rect 275 -1007 281 -973
rect 235 -1045 281 -1007
rect 235 -1079 241 -1045
rect 275 -1079 281 -1045
rect 235 -1124 281 -1079
rect 493 -109 539 -64
rect 493 -143 499 -109
rect 533 -143 539 -109
rect 493 -181 539 -143
rect 493 -215 499 -181
rect 533 -215 539 -181
rect 493 -253 539 -215
rect 493 -287 499 -253
rect 533 -287 539 -253
rect 493 -325 539 -287
rect 493 -359 499 -325
rect 533 -359 539 -325
rect 493 -397 539 -359
rect 493 -431 499 -397
rect 533 -431 539 -397
rect 493 -469 539 -431
rect 493 -503 499 -469
rect 533 -503 539 -469
rect 493 -541 539 -503
rect 493 -575 499 -541
rect 533 -575 539 -541
rect 493 -613 539 -575
rect 493 -647 499 -613
rect 533 -647 539 -613
rect 493 -685 539 -647
rect 493 -719 499 -685
rect 533 -719 539 -685
rect 493 -757 539 -719
rect 493 -791 499 -757
rect 533 -791 539 -757
rect 493 -829 539 -791
rect 493 -863 499 -829
rect 533 -863 539 -829
rect 493 -901 539 -863
rect 493 -935 499 -901
rect 533 -935 539 -901
rect 493 -973 539 -935
rect 493 -1007 499 -973
rect 533 -1007 539 -973
rect 493 -1045 539 -1007
rect 493 -1079 499 -1045
rect 533 -1079 539 -1045
rect 493 -1124 539 -1079
rect -483 -1171 -291 -1165
rect -225 -1171 -33 -1165
rect 33 -1171 225 -1165
rect 291 -1171 483 -1165
rect -516 -1205 -440 -1171
rect -406 -1205 -368 -1171
rect -334 -1205 -182 -1171
rect -148 -1205 -110 -1171
rect -76 -1205 76 -1171
rect 110 -1205 148 -1171
rect 182 -1205 334 -1171
rect 368 -1205 406 -1171
rect 440 -1205 516 -1171
rect -483 -1211 -291 -1205
rect -225 -1211 -33 -1205
rect 33 -1211 225 -1205
rect 291 -1211 483 -1205
<< labels >>
rlabel locali s -516 -594 -516 -594 4 D0_0
rlabel locali s 387 0 387 0 4 G
rlabel locali s 129 0 129 0 4 G
rlabel locali s -129 0 -129 0 4 G
rlabel locali s -387 0 -387 0 4 G
rlabel locali s -516 594 -516 594 4 D0_1
rlabel locali s -258 -594 -258 -594 4 S1_0
rlabel locali s -258 594 -258 594 4 S1_1
rlabel locali s 0 -594 0 -594 4 D2_0
rlabel locali s 0 594 0 594 4 D2_1
rlabel locali s 258 -594 258 -594 4 S3_0
rlabel locali s 258 594 258 594 4 S3_1
<< end >>
